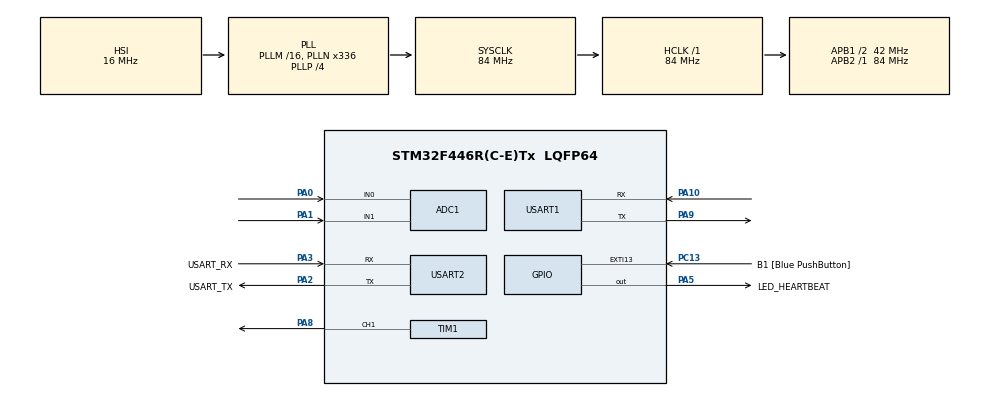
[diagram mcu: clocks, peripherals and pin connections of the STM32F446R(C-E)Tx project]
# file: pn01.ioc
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ADC1.Channel-0\#ChannelRegularConversion=ADC_CHANNEL_0
ADC1.Channel-1\#ChannelRegularConversion=ADC_CHANNEL_1
ADC1.InjNumberOfConversion=0
ADC1.NbrOfConversion=2
ADC1.NbrOfConversionFlag=1
ADC1.Rank-0\#ChannelRegularConversion=1
ADC1.Rank-1\#ChannelRegularConversion=2
ADC1.SamplingTime-0\#ChannelRegularConversion=ADC_SAMPLETIME_84CYCLES
ADC1.SamplingTime-1\#ChannelRegularConversion=ADC_SAMPLETIME_84CYCLES
ADC1.ScanConvMode=ENABLE
ADC1.master=1
Dma.ADC1.0.Direction=DMA_PERIPH_TO_MEMORY
Dma.ADC1.0.FIFOMode=DMA_FIFOMODE_DISABLE
Dma.ADC1.0.Instance=DMA2_Stream0
Dma.ADC1.0.MemDataAlignment=DMA_MDATAALIGN_HALFWORD
Dma.ADC1.0.MemInc=DMA_MINC_ENABLE
Dma.ADC1.0.Mode=DMA_CIRCULAR
Dma.ADC1.0.PeriphDataAlignment=DMA_PDATAALIGN_HALFWORD
Dma.ADC1.0.PeriphInc=DMA_PINC_DISABLE
Dma.ADC1.0.Priority=DMA_PRIORITY_LOW
Dma.Request0=ADC1
FREERTOS.BinarySemaphores01=Sem_DMA_Ready,Dynamic,NULL,Available
FREERTOS.Events01=Event_Alarms,Dynamic,NULL
FREERTOS.Queues01=Queue_UART,5,uint16_t,0,Dynamic,NULL,NULL
FREERTOS.Tasks01=Task_Logic,40,128,StartDefaultTask,Default,NULL,Dynamic,NULL,NULL;Task_Comm,24,128,StartTask02,Default,NULL,Dynamic,NULL,NULL;Task_Buzzer,24,128,StartTask03,Default,NULL,Dynamic,NULL,NULL;Task_LED,8,128,StartTask04,Default,NULL,Dynamic,NULL,NULL
FREERTOS.configUSE_NEWLIB_REENTRANT=1
Mcu.Family=STM32F4
Mcu.Name=STM32F446R(C-E)Tx
Mcu.Package=LQFP64
NVIC.DMA2_Stream0_IRQn=true\:5\:0\:false\:false\:true\:true\:false\:true\:true
NVIC.PriorityGroup=NVIC_PRIORITYGROUP_4
NVIC.TIM1_TRG_COM_TIM11_IRQn=true\:15\:0\:false\:false\:true\:false\:false\:true\:true
NVIC.TimeBase=TIM1_TRG_COM_TIM11_IRQn
NVIC.TimeBaseIP=TIM11
PA0-WKUP.Signal=ADCx_IN0
PA1.Signal=ADCx_IN1
PA10.Mode=Asynchronous
PA10.Signal=USART1_RX
PA13.GPIO_Label=TMS
PA13.Mode=Serial_Wire
PA13.Signal=SYS_JTMS-SWDIO
PA14.GPIO_Label=TCK
PA14.Mode=Serial_Wire
PA14.Signal=SYS_JTCK-SWCLK
PA2.GPIO_Label=USART_TX
PA2.Mode=Asynchronous
PA2.Signal=USART2_TX
PA3.GPIO_Label=USART_RX
PA3.Mode=Asynchronous
PA3.Signal=USART2_RX
PA5.GPIO_Label=LED_HEARTBEAT
PA5.Signal=GPIO_Output
PA8.Signal=S_TIM1_CH1
PA9.Mode=Asynchronous
PA9.Signal=USART1_TX
PB3.GPIO_Label=SWO
PB3.Signal=SYS_JTDO-SWO
PC13.GPIO_Label=B1 [Blue PushButton]
PC13.GPIO_ModeDefaultEXTI=GPIO_MODE_IT_FALLING
PC13.Signal=GPXTI13
PC14-OSC32_IN.Mode=LSE-External-Oscillator
PC14-OSC32_IN.Signal=RCC_OSC32_IN
PC15-OSC32_OUT.Mode=LSE-External-Oscillator
PC15-OSC32_OUT.Signal=RCC_OSC32_OUT
PH0-OSC_IN.Mode=HSE-External-Oscillator
PH0-OSC_IN.Signal=RCC_OSC_IN
PH1-OSC_OUT.Mode=HSE-External-Oscillator
PH1-OSC_OUT.Signal=RCC_OSC_OUT
ProjectManager.HeapSize=0x200
ProjectManager.StackSize=0x400
ProjectManager.TargetToolchain=STM32CubeIDE
RCC.48MHZClocksFreq_Value=84000000
RCC.AHBFreq_Value=84000000
RCC.APB1CLKDivider=RCC_HCLK_DIV2
RCC.APB1Freq_Value=42000000
RCC.APB1TimFreq_Value=84000000
RCC.APB2Freq_Value=84000000
RCC.APB2TimFreq_Value=84000000
RCC.CortexFreq_Value=84000000
RCC.FLatency-AdvancedSettings=FLASH_LATENCY_2
RCC.HCLKFreq_Value=84000000
RCC.HSE_VALUE=8000000
RCC.HSI_VALUE=16000000
RCC.PLLN=336
RCC.PLLP=RCC_PLLP_DIV4
RCC.SYSCLKFreq_VALUE=84000000
RCC.SYSCLKSource=RCC_SYSCLKSOURCE_PLLCLK
RCC.USBFreq_Value=168000000
RCC.VCOOutputFreq_Value=336000000
SH.ADCx_IN0.0=ADC1_IN0,IN0
SH.ADCx_IN1.0=ADC1_IN1,IN1
SH.S_TIM1_CH1.0=TIM1_CH1,PWM Generation1 CH1
TIM1.Channel-PWM\ Generation1\ CH1=TIM_CHANNEL_1
TIM1.Period=1000-1
TIM1.Prescaler=84-1
USART1.VirtualMode=VM_ASYNC
USART2.VirtualMode=VM_ASYNC
VP_FREERTOS_VS_CMSIS_V2.Mode=CMSIS_V2
VP_SYS_VS_tim11.Mode=TIM11
board=NUCLEO-F446RE

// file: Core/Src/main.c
/* USER CODE BEGIN Header */
/**
  ******************************************************************************
  * @file           : main.c
  * @brief          : Main program body
  ******************************************************************************
  * @attention
  *
  * Copyright (c) 2026 STMicroelectronics.
  * All rights reserved.
  *
  * This software is licensed under terms that can be found in the LICENSE file
  * in the root directory of this software component.
  * If no LICENSE file comes with this software, it is provided AS-IS.
  *
  ******************************************************************************
  */
/* USER CODE END Header */
#include "main.h"
#include "cmsis_os.h"

/* USER CODE BEGIN Includes */
#include <stdio.h>
/* USER CODE END Includes */

/* USER CODE BEGIN PTD */
typedef struct __attribute__((packed)) {
    uint16_t sync_header;  // Always 0xAABB
    float    inner_temp;   // Scaled Inner Temperature
    float    surr_temp;    // Scaled Surrounding Temperature
    uint8_t  alert_inner;  // 1 = Alert, 0 = Normal
    uint8_t  alert_surr;   // 1 = Alert, 0 = Normal
    uint8_t  checksum;     // Data integrity check
} SensorPacket_t;
/* USER CODE END PTD */

ADC_HandleTypeDef hadc1;
DMA_HandleTypeDef hdma_adc1;

TIM_HandleTypeDef htim1;

UART_HandleTypeDef huart1;
UART_HandleTypeDef huart2;

/* Definitions for Task_Logic */
osThreadId_t Task_LogicHandle;
const osThreadAttr_t Task_Logic_attributes = {
  .name = "Task_Logic",
  .stack_size = 512 * 4,
  .priority = (osPriority_t) osPriorityHigh,
};
/* Definitions for Task_Comm */
osThreadId_t Task_CommHandle;
const osThreadAttr_t Task_Comm_attributes = {
  .name = "Task_Comm",
  .stack_size = 128 * 4,
  .priority = (osPriority_t) osPriorityNormal,
};
/* Definitions for Task_Buzzer */
osThreadId_t Task_BuzzerHandle;
const osThreadAttr_t Task_Buzzer_attributes = {
  .name = "Task_Buzzer",
  .stack_size = 128 * 4,
  .priority = (osPriority_t) osPriorityNormal,
};
/* Definitions for Task_LED */
osThreadId_t Task_LEDHandle;
const osThreadAttr_t Task_LED_attributes = {
  .name = "Task_LED",
  .stack_size = 128 * 4,
  .priority = (osPriority_t) osPriorityLow,
};
/* Definitions for Queue_UART */
osMessageQueueId_t Queue_UARTHandle;
const osMessageQueueAttr_t Queue_UART_attributes = {
  .name = "Queue_UART"
};
/* Definitions for Sem_DMA_Ready */
osSemaphoreId_t Sem_DMA_ReadyHandle;
const osSemaphoreAttr_t Sem_DMA_Ready_attributes = {
  .name = "Sem_DMA_Ready"
};
/* Definitions for Event_Alarms */
osEventFlagsId_t Event_AlarmsHandle;
const osEventFlagsAttr_t Event_Alarms_attributes = {
  .name = "Event_Alarms"
};
/* USER CODE BEGIN PV */
uint16_t adc_buffer[2];
/* USER CODE END PV */

void SystemClock_Config(void);
static void MX_GPIO_Init(void);
static void MX_DMA_Init(void);
static void MX_USART2_UART_Init(void);
static void MX_ADC1_Init(void);
static void MX_TIM1_Init(void);
static void MX_USART1_UART_Init(void);
void StartDefaultTask(void *argument);
void StartTask02(void *argument);
void StartTask03(void *argument);
void StartTask04(void *argument);

int main(void)
{

  /* MCU Configuration--------------------------------------------------------*/

  /* Reset of all peripherals, Initializes the Flash interface and the Systick. */
  HAL_Init();

  /* Configure the system clock */
  SystemClock_Config();

  /* Initialize all configured peripherals */
  MX_GPIO_Init();
  MX_DMA_Init();
  MX_USART2_UART_Init();
  MX_ADC1_Init();
  MX_TIM1_Init();
  MX_USART1_UART_Init();
  /* USER CODE BEGIN 2 */
  // Tell the ADC to start reading, and tell the DMA to drop the values into our array
  HAL_ADC_Start_DMA(&hadc1, (uint32_t*)adc_buffer, 2);
  // Start the Timer that controls the buzzer volume (starts at 0% volume)
  HAL_TIM_PWM_Start(&htim1, TIM_CHANNEL_1);
  /* USER CODE END 2 */

  /* Init scheduler */
  osKernelInitialize();

  /* Create the semaphores(s) */
  /* creation of Sem_DMA_Ready */
  Sem_DMA_ReadyHandle = osSemaphoreNew(1, 1, &Sem_DMA_Ready_attributes);

  /* Create the queue(s) */
  /* creation of Queue_UART */
  Queue_UARTHandle = osMessageQueueNew (5, sizeof(SensorPacket_t), &Queue_UART_attributes);

  /* Create the thread(s) */
  /* creation of Task_Logic */
  Task_LogicHandle = osThreadNew(StartDefaultTask, NULL, &Task_Logic_attributes);

  /* creation of Task_Comm */
  Task_CommHandle = osThreadNew(StartTask02, NULL, &Task_Comm_attributes);

  /* creation of Task_Buzzer */
  Task_BuzzerHandle = osThreadNew(StartTask03, NULL, &Task_Buzzer_attributes);

  /* creation of Task_LED */
  Task_LEDHandle = osThreadNew(StartTask04, NULL, &Task_LED_attributes);

  /* Create the event(s) */
  /* creation of Event_Alarms */
  Event_AlarmsHandle = osEventFlagsNew(&Event_Alarms_attributes);

  /* Start scheduler */
  osKernelStart();

  /* We should never get here as control is now taken by the scheduler */

  /* Infinite loop */
  while (1)
  {

  }
}

void SystemClock_Config(void)
{
  RCC_OscInitTypeDef RCC_OscInitStruct = {0};
  RCC_ClkInitTypeDef RCC_ClkInitStruct = {0};

  /** Configure the main internal regulator output voltage
  */
  __HAL_RCC_PWR_CLK_ENABLE();
  __HAL_PWR_VOLTAGESCALING_CONFIG(PWR_REGULATOR_VOLTAGE_SCALE3);

  /** Initializes the RCC Oscillators according to the specified parameters
  * in the RCC_OscInitTypeDef structure.
  */
  RCC_OscInitStruct.OscillatorType = RCC_OSCILLATORTYPE_HSI;
  RCC_OscInitStruct.HSIState = RCC_HSI_ON;
  RCC_OscInitStruct.HSICalibrationValue = RCC_HSICALIBRATION_DEFAULT;
  RCC_OscInitStruct.PLL.PLLState = RCC_PLL_ON;
  RCC_OscInitStruct.PLL.PLLSource = RCC_PLLSOURCE_HSI;
  RCC_OscInitStruct.PLL.PLLM = 16;
  RCC_OscInitStruct.PLL.PLLN = 336;
  RCC_OscInitStruct.PLL.PLLP = RCC_PLLP_DIV4;
  RCC_OscInitStruct.PLL.PLLQ = 2;
  RCC_OscInitStruct.PLL.PLLR = 2;
  if (HAL_RCC_OscConfig(&RCC_OscInitStruct) != HAL_OK)
  {
    Error_Handler();
  }

  /** Initializes the CPU, AHB and APB buses clocks
  */
  RCC_ClkInitStruct.ClockType = RCC_CLOCKTYPE_HCLK|RCC_CLOCKTYPE_SYSCLK
                              |RCC_CLOCKTYPE_PCLK1|RCC_CLOCKTYPE_PCLK2;
  RCC_ClkInitStruct.SYSCLKSource = RCC_SYSCLKSOURCE_PLLCLK;
  RCC_ClkInitStruct.AHBCLKDivider = RCC_SYSCLK_DIV1;
  RCC_ClkInitStruct.APB1CLKDivider = RCC_HCLK_DIV2;
  RCC_ClkInitStruct.APB2CLKDivider = RCC_HCLK_DIV1;

  if (HAL_RCC_ClockConfig(&RCC_ClkInitStruct, FLASH_LATENCY_2) != HAL_OK)
  {
    Error_Handler();
  }
}

static void MX_ADC1_Init(void)
{

  ADC_ChannelConfTypeDef sConfig = {0};

  /** Configure the global features of the ADC (Clock, Resolution, Data Alignment and number of conversion)
  */
  hadc1.Instance = ADC1;
  hadc1.Init.ClockPrescaler = ADC_CLOCK_SYNC_PCLK_DIV4;
  hadc1.Init.Resolution = ADC_RESOLUTION_12B;
  hadc1.Init.ScanConvMode = ENABLE;
  hadc1.Init.ContinuousConvMode = DISABLE;
  hadc1.Init.DiscontinuousConvMode = DISABLE;
  hadc1.Init.ExternalTrigConvEdge = ADC_EXTERNALTRIGCONVEDGE_NONE;
  hadc1.Init.ExternalTrigConv = ADC_SOFTWARE_START;
  hadc1.Init.DataAlign = ADC_DATAALIGN_RIGHT;
  hadc1.Init.NbrOfConversion = 2;
  hadc1.Init.DMAContinuousRequests = DISABLE;
  hadc1.Init.EOCSelection = ADC_EOC_SINGLE_CONV;
  if (HAL_ADC_Init(&hadc1) != HAL_OK)
  {
    Error_Handler();
  }

  /** Configure for the selected ADC regular channel its corresponding rank in the sequencer and its sample time.
  */
  sConfig.Channel = ADC_CHANNEL_0;
  sConfig.Rank = 1;
  sConfig.SamplingTime = ADC_SAMPLETIME_84CYCLES;
  if (HAL_ADC_ConfigChannel(&hadc1, &sConfig) != HAL_OK)
  {
    Error_Handler();
  }

  /** Configure for the selected ADC regular channel its corresponding rank in the sequencer and its sample time.
  */
  sConfig.Channel = ADC_CHANNEL_1;
  sConfig.Rank = 2;
  if (HAL_ADC_ConfigChannel(&hadc1, &sConfig) != HAL_OK)
  {
    Error_Handler();
  }

}

static void MX_TIM1_Init(void)
{

  TIM_MasterConfigTypeDef sMasterConfig = {0};
  TIM_OC_InitTypeDef sConfigOC = {0};
  TIM_BreakDeadTimeConfigTypeDef sBreakDeadTimeConfig = {0};

  htim1.Instance = TIM1;
  htim1.Init.Prescaler = 84-1;
  htim1.Init.CounterMode = TIM_COUNTERMODE_UP;
  htim1.Init.Period = 1000-1;
  htim1.Init.ClockDivision = TIM_CLOCKDIVISION_DIV1;
  htim1.Init.RepetitionCounter = 0;
  htim1.Init.AutoReloadPreload = TIM_AUTORELOAD_PRELOAD_DISABLE;
  if (HAL_TIM_PWM_Init(&htim1) != HAL_OK)
  {
    Error_Handler();
  }
  sMasterConfig.MasterOutputTrigger = TIM_TRGO_RESET;
  sMasterConfig.MasterSlaveMode = TIM_MASTERSLAVEMODE_DISABLE;
  if (HAL_TIMEx_MasterConfigSynchronization(&htim1, &sMasterConfig) != HAL_OK)
  {
    Error_Handler();
  }
  sConfigOC.OCMode = TIM_OCMODE_PWM1;
  sConfigOC.Pulse = 0;
  sConfigOC.OCPolarity = TIM_OCPOLARITY_HIGH;
  sConfigOC.OCNPolarity = TIM_OCNPOLARITY_HIGH;
  sConfigOC.OCFastMode = TIM_OCFAST_DISABLE;
  sConfigOC.OCIdleState = TIM_OCIDLESTATE_RESET;
  sConfigOC.OCNIdleState = TIM_OCNIDLESTATE_RESET;
  if (HAL_TIM_PWM_ConfigChannel(&htim1, &sConfigOC, TIM_CHANNEL_1) != HAL_OK)
  {
    Error_Handler();
  }
  sBreakDeadTimeConfig.OffStateRunMode = TIM_OSSR_DISABLE;
  sBreakDeadTimeConfig.OffStateIDLEMode = TIM_OSSI_DISABLE;
  sBreakDeadTimeConfig.LockLevel = TIM_LOCKLEVEL_OFF;
  sBreakDeadTimeConfig.DeadTime = 0;
  sBreakDeadTimeConfig.BreakState = TIM_BREAK_DISABLE;
  sBreakDeadTimeConfig.BreakPolarity = TIM_BREAKPOLARITY_HIGH;
  sBreakDeadTimeConfig.AutomaticOutput = TIM_AUTOMATICOUTPUT_DISABLE;
  if (HAL_TIMEx_ConfigBreakDeadTime(&htim1, &sBreakDeadTimeConfig) != HAL_OK)
  {
    Error_Handler();
  }
  HAL_TIM_MspPostInit(&htim1);

}

static void MX_USART1_UART_Init(void)
{

  huart1.Instance = USART1;
  huart1.Init.BaudRate = 115200;
  huart1.Init.WordLength = UART_WORDLENGTH_8B;
  huart1.Init.StopBits = UART_STOPBITS_1;
  huart1.Init.Parity = UART_PARITY_NONE;
  huart1.Init.Mode = UART_MODE_TX_RX;
  huart1.Init.HwFlowCtl = UART_HWCONTROL_NONE;
  huart1.Init.OverSampling = UART_OVERSAMPLING_16;
  if (HAL_UART_Init(&huart1) != HAL_OK)
  {
    Error_Handler();
  }

}

static void MX_USART2_UART_Init(void)
{

  huart2.Instance = USART2;
  huart2.Init.BaudRate = 115200;
  huart2.Init.WordLength = UART_WORDLENGTH_8B;
  huart2.Init.StopBits = UART_STOPBITS_1;
  huart2.Init.Parity = UART_PARITY_NONE;
  huart2.Init.Mode = UART_MODE_TX_RX;
  huart2.Init.HwFlowCtl = UART_HWCONTROL_NONE;
  huart2.Init.OverSampling = UART_OVERSAMPLING_16;
  if (HAL_UART_Init(&huart2) != HAL_OK)
  {
    Error_Handler();
  }

}

static void MX_DMA_Init(void)
{

  /* DMA controller clock enable */
  __HAL_RCC_DMA2_CLK_ENABLE();

  /* DMA interrupt init */
  /* DMA2_Stream0_IRQn interrupt configuration */
  HAL_NVIC_SetPriority(DMA2_Stream0_IRQn, 5, 0);
  HAL_NVIC_EnableIRQ(DMA2_Stream0_IRQn);

}

static void MX_GPIO_Init(void)
{
  GPIO_InitTypeDef GPIO_InitStruct = {0};

  /* GPIO Ports Clock Enable */
  __HAL_RCC_GPIOC_CLK_ENABLE();
  __HAL_RCC_GPIOH_CLK_ENABLE();
  __HAL_RCC_GPIOA_CLK_ENABLE();
  __HAL_RCC_GPIOB_CLK_ENABLE();

  /*Configure GPIO pin Output Level */
  HAL_GPIO_WritePin(LED_HEARTBEAT_GPIO_Port, LED_HEARTBEAT_Pin, GPIO_PIN_RESET);

  /*Configure GPIO pin : B1_Pin */
  GPIO_InitStruct.Pin = B1_Pin;
  GPIO_InitStruct.Mode = GPIO_MODE_IT_FALLING;
  GPIO_InitStruct.Pull = GPIO_NOPULL;
  HAL_GPIO_Init(B1_GPIO_Port, &GPIO_InitStruct);

  /*Configure GPIO pin : LED_HEARTBEAT_Pin */
  GPIO_InitStruct.Pin = LED_HEARTBEAT_Pin;
  GPIO_InitStruct.Mode = GPIO_MODE_OUTPUT_PP;
  GPIO_InitStruct.Pull = GPIO_NOPULL;
  GPIO_InitStruct.Speed = GPIO_SPEED_FREQ_LOW;
  HAL_GPIO_Init(LED_HEARTBEAT_GPIO_Port, &GPIO_InitStruct);

}

/* USER CODE BEGIN 4 */
// This function gets called automatically by the hardware when both pots are read
void HAL_ADC_ConvCpltCallback(ADC_HandleTypeDef* hadc) {
    if(hadc->Instance == ADC1) {
        // Drop a token into the Semaphore mailbox to wake up Task_Logic instantly
        osSemaphoreRelease(Sem_DMA_ReadyHandle);
    }
}

// 2. The Global Printf Hijack (THIS IS WHAT PREVENTS THE CRASH)
int _write(int file, char *ptr, int len) {
    // Route all standard C text outputs directly to USART2 (Your USB cable)
    HAL_UART_Transmit(&huart2, (uint8_t*)ptr, len, HAL_MAX_DELAY);
    return len;
}
/* USER CODE END 4 */

void StartDefaultTask(void *argument)
{
	/* USER CODE BEGIN 5 */
	  SensorPacket_t tx_packet;
	  tx_packet.sync_header = 0xAABB;

	  /* Infinite loop */
	  for(;;)
	  {
	        // 1. PULL THE TRIGGER: Tell the ADC/DMA to take exactly one scan right now
	        HAL_ADC_Start_DMA(&hadc1, (uint32_t*)adc_buffer, 2);

	        // 2. WAIT: Sleep until the DMA interrupt wakes us up
	        if (osSemaphoreAcquire(Sem_DMA_ReadyHandle, osWaitForever) == osOK)
	        {
	            // 3. MATH & LOGIC
	            float inner_voltage = ((float)adc_buffer[0] * 3300.0f) / 4095.0f;
	            tx_packet.inner_temp = inner_voltage / 100.0f;

	            float surr_voltage = ((float)adc_buffer[1] * 3300.0f) / 4095.0f;
	            tx_packet.surr_temp = surr_voltage / 100.0f;

	            tx_packet.alert_inner = 0;
	            tx_packet.alert_surr = 0;
	            uint32_t alarm_flags_to_set = 0;

	            if (tx_packet.inner_temp < 2.0f || tx_packet.inner_temp > 8.0f) {
	                tx_packet.alert_inner = 1;
	                alarm_flags_to_set |= 0x01;
	            }

	            if (tx_packet.surr_temp > 30.0f) {
	                tx_packet.alert_surr = 1;
	                alarm_flags_to_set |= 0x02;
	            }

	            osEventFlagsClear(Event_AlarmsHandle, 0x03);
	            if (alarm_flags_to_set > 0) {
	                osEventFlagsSet(Event_AlarmsHandle, alarm_flags_to_set);
	            }

	            uint8_t sum = 0;
	            uint8_t *ptr = (uint8_t*)&tx_packet;
	            for(int i = 0; i < sizeof(SensorPacket_t) - 1; i++) {
	                sum += ptr[i];
	            }
	            tx_packet.checksum = sum;

	            // 4. PRINT: Will successfully push text without crashing
	            printf("Inner Temp: %.1f C  |  Surrounding Temp: %.1f C\r\n", tx_packet.inner_temp, tx_packet.surr_temp);

	            // 5. SEND: Push to ESP32 queue
	            osMessageQueuePut(Queue_UARTHandle, &tx_packet, 0, 0);
	        }

	        // 6. PACE THE SYSTEM: Sleep for 500ms before reading the sensors again.
	        osDelay(500);
	  }

}

void StartTask02(void *argument)
{
  /* USER CODE BEGIN StartTask02 */
	SensorPacket_t rx_packet; // Local buffer to hold the queue data
  /* Infinite loop */
  for(;;)
  {
	  // 1. Wait forever until a packet appears in the Queue
	  if (osMessageQueueGet(Queue_UARTHandle, &rx_packet, NULL, osWaitForever) == osOK)
      {
		  // 2. We got the packet! Transmit all 13 bytes directly to the ESP32 over USART1
		  HAL_UART_Transmit(&huart1, (uint8_t*)&rx_packet, sizeof(SensorPacket_t), HAL_MAX_DELAY);
	  }
  }
  /* USER CODE END StartTask02 */
}

void StartTask03(void *argument)
{
  /* USER CODE BEGIN StartTask03 */
  /* Infinite loop */
	for(;;)
	  {
	        // 1. Read the current alarm status (without clearing them)
	        uint32_t flags = osEventFlagsGet(Event_AlarmsHandle);

	        if (flags & 0x01) {
	            // RULE A TRIPPED (Strong Alarm)
	            __HAL_TIM_SET_COMPARE(&htim1, TIM_CHANNEL_1, 500); // 50% Volume
	            osDelay(100);                                      // Beep ON
	            __HAL_TIM_SET_COMPARE(&htim1, TIM_CHANNEL_1, 1000);// Mute (Force HIGH to block VCC)
	            osDelay(100);                                      // Beep OFF (Fast pulse)
	        }
	        else if (flags & 0x02) {
	            // RULE B TRIPPED (Weak Alarm)
	            __HAL_TIM_SET_COMPARE(&htim1, TIM_CHANNEL_1, 950); // 5% Volume (Inverted to 950)
	            osDelay(500);                                      // Beep ON
	            __HAL_TIM_SET_COMPARE(&htim1, TIM_CHANNEL_1, 1000);// Mute (Force HIGH to block VCC)
	            osDelay(500);                                      // Beep OFF (Slow pulse)
	        }
	        else {
	            // NO ALARMS
	            __HAL_TIM_SET_COMPARE(&htim1, TIM_CHANNEL_1, 1000);// Keep Muted (Force HIGH)
	            osDelay(100); // Sleep briefly to yield CPU to other tasks
	        }
	  }
  /* USER CODE END StartTask03 */
}

void StartTask04(void *argument)
{
  /* USER CODE BEGIN StartTask04 */
  /* Infinite loop */
  for(;;)
  {
	  // Toggle the onboard LED and sleep for half a second
	        HAL_GPIO_TogglePin(LED_HEARTBEAT_GPIO_Port, LED_HEARTBEAT_Pin);
	        osDelay(500);
  }
  /* USER CODE END StartTask04 */
}

void HAL_TIM_PeriodElapsedCallback(TIM_HandleTypeDef *htim)
{
  if (htim->Instance == TIM11)
  {
    HAL_IncTick();
  }
}

void Error_Handler(void)
{
  __disable_irq();
  while (1)
  {
  }
}
